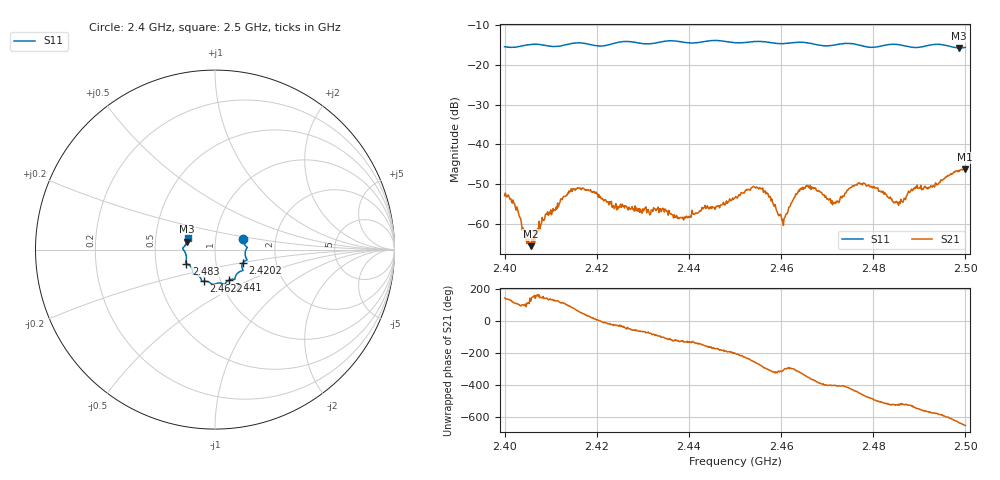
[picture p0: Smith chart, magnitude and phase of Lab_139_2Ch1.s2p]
# Hz S RI R 50
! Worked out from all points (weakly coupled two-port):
!   601 points, 2.4 GHz to 2.5 GHz, reference 50 ohm
!   highest |S21| = -46.23 dB at 2.4998 GHz (marker M1); lowest = -65.5 dB at 2.4057 GHz (marker M2)
!   lowest |S11| = -15.8 dB at 2.4987 GHz (marker M3), VSWR 1.39, Z = 36.4 + j3.3 ohm
!   |S11| at or under -10 dB: start of sweep to end of sweep
!   S12 and S22 are empty: the file has one direction only
!   S11 on the Smith chart (normalised r, x): 2.4 GHz: 1.36, +0.17; 2.4202 GHz: 1.35, -0.20; 2.441 GHz: 1.10, -0.39; 2.4622 GHz: 0.83, -0.30; 2.483 GHz: 0.72, -0.12; 2.5 GHz: 0.73, +0.09
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2.4e9  0.1565 0.0605  -0.00182 0.00138  0 0  0 0
2.402333e9  0.1623 0.0329  -0.000502 0.00155  0 0  0 0
2.405667e9  0.1787 0.014  -0.000291 0.000446  0 0  0 0
2.409167e9  0.1728 0.000395  -0.00106 0.000812  0 0  0 0
2.416667e9  0.1776 -0.0584  0.00168 0.00213  0 0  0 0
2.420167e9  0.1562 -0.0719  0.00243 0.000241  0 0  0 0
2.423833e9  0.1521 -0.1061  0.00142 -0.000679  0 0  0 0
2.433333e9  0.1132 -0.1523  -0.00011 -0.00164  0 0  0 0
2.441e9  0.0769 -0.1705  -0.00092 -0.000969  0 0  0 0
2.45e9  0.0266 -0.1864  -0.002 0.000775  0 0  0 0
2.4555e9  -0.012 -0.1951  0.000377 0.00282  0 0  0 0
2.4605e9  -0.048 -0.1772  0.000609 0.000755  0 0  0 0
2.462167e9  -0.0632 -0.1765  0.000793 0.00165  0 0  0 0
2.466667e9  -0.0765 -0.1668  0.00293 -0.000315  0 0  0 0
2.471333e9  -0.109 -0.1373  0.00137 -0.00129  0 0  0 0
2.476667e9  -0.1249 -0.1259  0.000334 -0.00326  0 0  0 0
2.483e9  -0.1592 -0.0781  -0.00209 -0.000851  0 0  0 0
2.483333e9  -0.1607 -0.0774  -0.00206 -0.00068  0 0  0 0
2.486e9  -0.1626 -0.0679  -0.00197 -0.000611  0 0  0 0
2.498667e9  -0.1557 0.0442  0.000462 0.00457  0 0  0 0
2.499833e9  -0.1529 0.0604  0.00178 0.00455  0 0  0 0
2.5e9  -0.1526 0.0626  0.00184 0.00448  0 0  0 0
